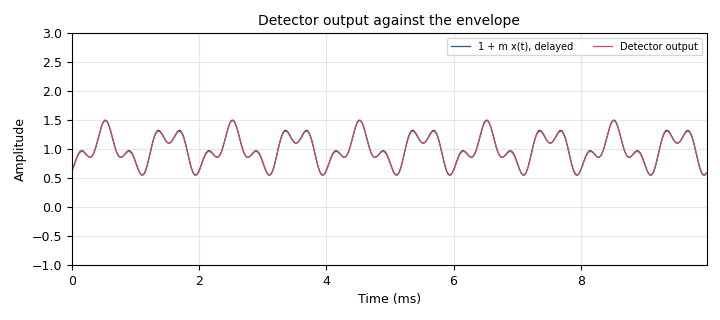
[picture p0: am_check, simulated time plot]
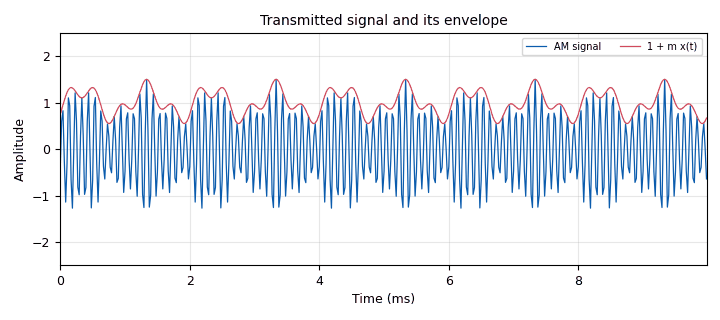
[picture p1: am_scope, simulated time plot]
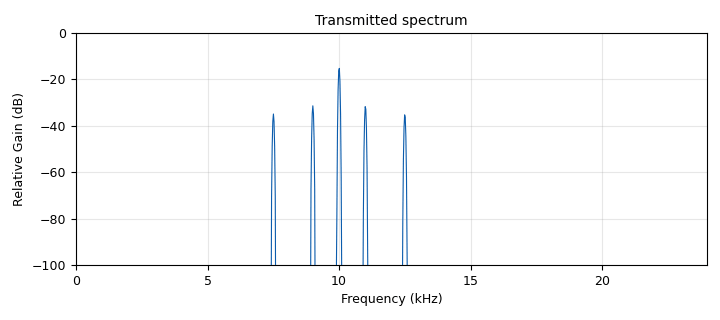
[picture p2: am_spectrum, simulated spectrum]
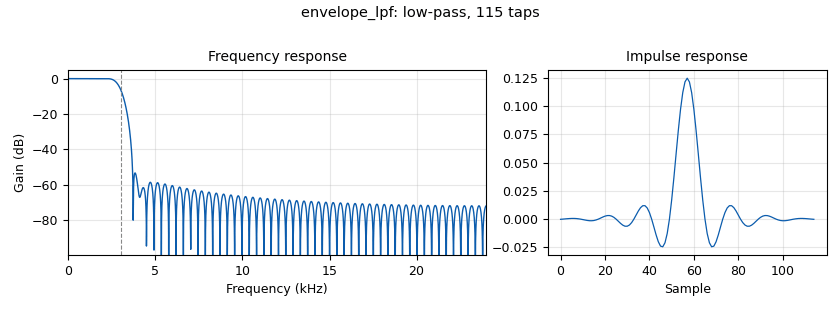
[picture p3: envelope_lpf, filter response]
options:
  parameters:
    author: ECE 448
    description: 'L6: a two-tone message on a 10 kHz carrier as DSB-AM, received with an envelope detector. Raise m past 1 to overmodulate.'
    generate_options: qt_gui
    id: L06_dsb_am
    output_language: python
    title: L6 - DSB-AM
  states: {}

blocks:
- name: fc
  id: variable
  parameters:
    value: '10000'
  states: {}
- name: lpf_taps
  id: variable_low_pass_filter_taps
  parameters:
    cutoff_freq: '3000'
    gain: '1.0'
    samp_rate: samp_rate
    width: '1000'
    win: window.WIN_HAMMING
  states: {}
- name: m
  id: variable_qtgui_range
  parameters:
    gui_hint: 0,0,1,1
    label: Modulation index m
    start: '0'
    step: '0.05'
    stop: '1.5'
    value: '0.5'
  states: {}
- name: samp_rate
  id: variable
  parameters:
    value: '48000'
  states: {}
- name: vol
  id: variable_qtgui_range
  parameters:
    gui_hint: 0,1,1,1
    label: Volume
    start: '0'
    step: '0.05'
    stop: '1'
    value: '0.3'
  states: {}
- name: align
  id: blocks_delay
  parameters:
    delay: len(lpf_taps)//2
    type: float
  states: {}
- name: am_check
  id: qtgui_time_sink_x
  parameters:
    entags: 'False'
    grid: 'True'
    gui_hint: 2,1,1,1
    label1: 1 + m x(t), delayed
    label2: Detector output
    name: '"Detector output against the envelope"'
    nconnections: '2'
    size: '480'
    srate: samp_rate
    type: float
    width1: '4'
    width2: '2'
    ymax: '3'
  states: {}
- name: am_scope
  id: qtgui_time_sink_x
  parameters:
    entags: 'False'
    grid: 'True'
    gui_hint: 2,0,1,1
    label1: AM signal
    label2: 1 + m x(t)
    name: '"Transmitted signal and its envelope"'
    nconnections: '2'
    size: '480'
    srate: samp_rate
    type: float
    width2: '2'
    ymax: '2.5'
    ymin: '-2.5'
  states: {}
- name: am_spectrum
  id: qtgui_freq_sink_x
  parameters:
    average: '0.2'
    bw: samp_rate
    fc: '0'
    fftsize: '2048'
    freqhalf: 'False'
    grid: 'True'
    gui_hint: 1,0,1,2
    label1: Transmitted
    legend: 'False'
    name: '"Transmitted spectrum"'
    type: float
    ymax: '0'
    ymin: '-100'
  states: {}
- name: audio_sink_0
  id: audio_sink
  parameters:
    samp_rate: '48000'
  states: {}
- name: carrier
  id: analog_sig_source_x
  parameters:
    amp: '1'
    freq: fc
    offset: '0'
    phase: '0'
    samp_rate: samp_rate
    type: float
    waveform: analog.GR_COS_WAVE
  states: {}
- name: dc_block
  id: dc_blocker_xx
  parameters:
    length: '32'
    long_form: 'True'
    type: ff
  states: {}
- name: envelope_lpf
  id: fir_filter_xxx
  parameters:
    decim: '1'
    taps: lpf_taps
    type: fff
  states: {}
- name: import_numpy
  id: import
  parameters:
    imports: import numpy
  states: {}
- name: message
  id: blocks_add_xx
  parameters:
    type: float
  states: {}
- name: modulator
  id: blocks_multiply_xx
  parameters:
    type: float
  states: {}
- name: plus_1
  id: blocks_add_const_vxx
  parameters:
    const: '1'
    type: float
  states: {}
- name: rectifier
  id: blocks_abs_xx
  parameters:
    type: float
  states: {}
- name: scale
  id: blocks_multiply_const_vxx
  parameters:
    const: numpy.pi/2
    type: float
  states: {}
- name: times_m
  id: blocks_multiply_const_vxx
  parameters:
    const: m
    type: float
  states: {}
- name: tone_1k
  id: analog_sig_source_x
  parameters:
    amp: '0.6'
    freq: '1000'
    offset: '0'
    phase: '0'
    samp_rate: samp_rate
    type: float
    waveform: analog.GR_COS_WAVE
  states: {}
- name: tone_2k5
  id: analog_sig_source_x
  parameters:
    amp: '0.4'
    freq: '2500'
    offset: '0'
    phase: '0'
    samp_rate: samp_rate
    type: float
    waveform: analog.GR_COS_WAVE
  states: {}
- name: volume
  id: blocks_multiply_const_vxx
  parameters:
    const: vol
    type: float
  states: {}

connections:
- [align, '0', am_check, '0']
- [carrier, '0', modulator, '1']
- [dc_block, '0', volume, '0']
- [envelope_lpf, '0', scale, '0']
- [message, '0', times_m, '0']
- [modulator, '0', am_scope, '0']
- [modulator, '0', am_spectrum, '0']
- [modulator, '0', rectifier, '0']
- [plus_1, '0', align, '0']
- [plus_1, '0', am_scope, '1']
- [plus_1, '0', modulator, '0']
- [rectifier, '0', envelope_lpf, '0']
- [scale, '0', am_check, '1']
- [scale, '0', dc_block, '0']
- [times_m, '0', plus_1, '0']
- [tone_1k, '0', message, '0']
- [tone_2k5, '0', message, '1']
- [volume, '0', audio_sink_0, '0']

metadata:
  file_format: 1
  grc_version: 3.10.9.2
